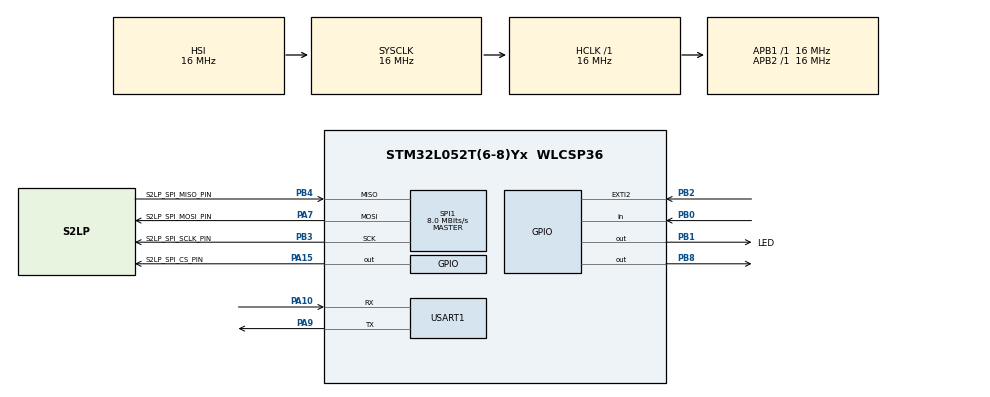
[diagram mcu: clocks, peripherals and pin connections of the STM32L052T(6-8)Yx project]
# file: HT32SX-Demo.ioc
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Dma.Request0=SPI1_TX
Dma.Request1=SPI1_RX
Dma.Request2=USART1_RX
Dma.Request3=USART1_TX
Dma.SPI1_RX.1.Direction=DMA_PERIPH_TO_MEMORY
Dma.SPI1_RX.1.Instance=DMA1_Channel2
Dma.SPI1_RX.1.MemDataAlignment=DMA_MDATAALIGN_BYTE
Dma.SPI1_RX.1.MemInc=DMA_MINC_ENABLE
Dma.SPI1_RX.1.Mode=DMA_NORMAL
Dma.SPI1_RX.1.PeriphDataAlignment=DMA_PDATAALIGN_BYTE
Dma.SPI1_RX.1.PeriphInc=DMA_PINC_DISABLE
Dma.SPI1_RX.1.Priority=DMA_PRIORITY_HIGH
Dma.SPI1_TX.0.Direction=DMA_MEMORY_TO_PERIPH
Dma.SPI1_TX.0.Instance=DMA1_Channel3
Dma.SPI1_TX.0.MemDataAlignment=DMA_MDATAALIGN_BYTE
Dma.SPI1_TX.0.MemInc=DMA_MINC_ENABLE
Dma.SPI1_TX.0.Mode=DMA_NORMAL
Dma.SPI1_TX.0.PeriphDataAlignment=DMA_PDATAALIGN_BYTE
Dma.SPI1_TX.0.PeriphInc=DMA_PINC_DISABLE
Dma.SPI1_TX.0.Priority=DMA_PRIORITY_HIGH
Dma.USART1_RX.2.Direction=DMA_PERIPH_TO_MEMORY
Dma.USART1_RX.2.Instance=DMA1_Channel5
Dma.USART1_RX.2.MemDataAlignment=DMA_MDATAALIGN_BYTE
Dma.USART1_RX.2.MemInc=DMA_MINC_ENABLE
Dma.USART1_RX.2.Mode=DMA_CIRCULAR
Dma.USART1_RX.2.PeriphDataAlignment=DMA_PDATAALIGN_BYTE
Dma.USART1_RX.2.PeriphInc=DMA_PINC_DISABLE
Dma.USART1_RX.2.Priority=DMA_PRIORITY_LOW
Dma.USART1_TX.3.Direction=DMA_MEMORY_TO_PERIPH
Dma.USART1_TX.3.Instance=DMA1_Channel4
Dma.USART1_TX.3.MemDataAlignment=DMA_MDATAALIGN_BYTE
Dma.USART1_TX.3.MemInc=DMA_MINC_ENABLE
Dma.USART1_TX.3.Mode=DMA_NORMAL
Dma.USART1_TX.3.PeriphDataAlignment=DMA_PDATAALIGN_BYTE
Dma.USART1_TX.3.PeriphInc=DMA_PINC_DISABLE
Dma.USART1_TX.3.Priority=DMA_PRIORITY_HIGH
Mcu.Family=STM32L0
Mcu.Name=STM32L052T(6-8)Yx
Mcu.Package=WLCSP36
NVIC.DMA1_Channel2_3_IRQn=true\:1\:0\:true\:false\:true\:false\:true
NVIC.DMA1_Channel4_5_6_7_IRQn=true\:0\:0\:false\:false\:true\:false\:true
NVIC.EXTI2_3_IRQn=true\:0\:0\:false\:false\:true\:true\:true
NVIC.RTC_IRQn=true\:1\:0\:true\:false\:true\:true\:true
NVIC.TIM6_DAC_IRQn=true\:1\:0\:true\:false\:true\:true\:true
PA10.Mode=Asynchronous
PA10.Signal=USART1_RX
PA13.Mode=Serial_Wire
PA13.Signal=SYS_SWDIO
PA14.Mode=Serial_Wire
PA14.Signal=SYS_SWCLK
PA15.GPIO_Label=S2LP_SPI_CS_PIN
PA15.GPIO_PuPd=GPIO_PULLUP
PA15.GPIO_Speed=GPIO_SPEED_FREQ_HIGH
PA15.PinState=GPIO_PIN_SET
PA15.Signal=GPIO_Output
PA7.GPIO_Label=S2LP_SPI_MOSI_PIN
PA7.GPIO_PuPd=GPIO_PULLUP
PA7.GPIO_Speed=GPIO_SPEED_FREQ_HIGH
PA7.Mode=Full_Duplex_Master
PA7.Signal=SPI1_MOSI
PA9.Mode=Asynchronous
PA9.Signal=USART1_TX
PB0.GPIO_PuPd=GPIO_PULLUP
PB0.Signal=GPIO_Input
PB1.GPIO_Label=LED
PB1.Signal=GPIO_Output
PB2.GPIO_ModeDefaultEXTI=GPIO_MODE_IT_FALLING
PB2.Signal=GPXTI2
PB3.GPIO_Label=S2LP_SPI_SCLK_PIN
PB3.GPIO_PuPd=GPIO_PULLUP
PB3.GPIO_Speed=GPIO_SPEED_FREQ_HIGH
PB3.Mode=Full_Duplex_Master
PB3.Signal=SPI1_SCK
PB4.GPIO_Label=S2LP_SPI_MISO_PIN
PB4.GPIO_PuPd=GPIO_PULLUP
PB4.GPIO_Speed=GPIO_SPEED_FREQ_HIGH
PB4.Mode=Full_Duplex_Master
PB4.Signal=SPI1_MISO
PB8.GPIO_Speed=GPIO_SPEED_FREQ_HIGH
PB8.Signal=GPIO_Output
ProjectManager.HeapSize=0x200
ProjectManager.StackSize=0x400
ProjectManager.TargetToolchain=STM32CubeIDE
RCC.AHBFreq_Value=16000000
RCC.APB1Freq_Value=16000000
RCC.APB1TimFreq_Value=16000000
RCC.APB2Freq_Value=16000000
RCC.APB2TimFreq_Value=16000000
RCC.HCLKFreq_Value=16000000
RCC.HSI16_VALUE=16000000
RCC.HSI48_VALUE=48000000
RCC.HSI_VALUE=16000000
RCC.LSE_VALUE=32768
RCC.MSI_VALUE=2097000
RCC.PLLDIV=RCC_PLLDIV_4
RCC.PLLMUL=RCC_PLLMUL_4
RCC.SYSCLKFreq_VALUE=16000000
RCC.SYSCLKSource=RCC_SYSCLKSOURCE_HSI
RCC.VCOOutputFreq_Value=64000000
RTC.WakeUpCounter=1000
SPI1.CalculateBaudRate=8.0 MBits/s
SPI1.Direction=SPI_DIRECTION_2LINES
SPI1.Mode=SPI_MODE_MASTER
SPI1.VirtualType=VM_MASTER
TIM6.Period=1000-1
TIM6.Prescaler=64-1
USART1.VirtualMode-Asynchronous=VM_ASYNC
VP_RTC_VS_RTC_Activate.Mode=RTC_Enabled
VP_RTC_VS_RTC_Calendar.Mode=RTC_Calendar
VP_RTC_VS_RTC_WakeUp_intern.Mode=WakeUp
VP_TIM6_VS_ClockSourceINT.Mode=Enable_Timer
board=custom

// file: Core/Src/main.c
/* USER CODE BEGIN Header */
/**
 ******************************************************************************
 * @file           : main.c
 * @brief          : Main program body
 ******************************************************************************
 * @attention
 *
 * <h2><center>&copy; Copyright (c) 2019 STMicroelectronics.
 * All rights reserved.</center></h2>
 *
 * This software component is licensed by ST under BSD 3-Clause license,
 * the "License"; You may not use this file except in compliance with the
 * License. You may obtain a copy of the License at:
 *                        opensource.org/licenses/BSD-3-Clause
 *
 ******************************************************************************
 */
/* USER CODE END Header */

#include "main.h"
#include "dma.h"
#include "rtc.h"
#include "spi.h"
#include "tim.h"
#include "usart.h"
#include "gpio.h"

/* USER CODE BEGIN PD */
#define 	LED_ON		1
#define 	LED_OFF		0

#ifdef DOWNLINK_FLAG
static uint8_t downlink_request = 1;
#else
static uint8_t downlink_request = 0;
#endif
/* USER CODE END PD */

/* USER CODE BEGIN PV */
TIM_HandleTypeDef  Tim6_Handler={.Instance=TIM6};
uint16_t		timer_led = 0, LED_STATE = LED_OFF;
/* USER CODE END PV */

void SystemClock_Config(void);
/* USER CODE BEGIN PFP */
void ST_Init(void);
void deviceIDs(void);
void LED_blink(void);
/* USER CODE END PFP */

int main(void)
{

  /* MCU Configuration--------------------------------------------------------*/

  /* Reset of all peripherals, Initializes the Flash interface and the Systick. */
  HAL_Init();

  /* Configure the system clock */
  SystemClock_Config();

  /* Initialize all configured peripherals */
  MX_GPIO_Init();
  MX_DMA_Init();
  MX_RTC_Init();
  MX_SPI1_Init();
  MX_TIM6_Init();
  MX_USART1_UART_Init();
  /* USER CODE BEGIN 2 */
  printf("\r\n-------------------\r\n");
  printf("Sigfox iMCP HT32SX\r\n");
  printf("-------------------\r\n\r\n");

  deviceIDs();
  /* USER CODE END 2 */

  /* Infinite loop */
  /* USER CODE BEGIN WHILE */
	while (1)
	{
	LED_blink();
    /* USER CODE END WHILE */

	}
}

void LED_blink(void){
	switch(timer_led++){
	case 0:
		HAL_GPIO_WritePin(GPIOB, GPIO_PIN_1, GPIO_PIN_SET);
		break;
	case 100:
		HAL_GPIO_WritePin(GPIOB, GPIO_PIN_1, GPIO_PIN_RESET);
		break;
	case 400:
		timer_led = 0;
		break;

	default:
		if(timer_led > 400)
			timer_led = 0;
		break;
	}
	HAL_Delay(1);
}
void SystemClock_Config(void)
{
  RCC_OscInitTypeDef RCC_OscInitStruct = {0};
  RCC_ClkInitTypeDef RCC_ClkInitStruct = {0};
  RCC_PeriphCLKInitTypeDef PeriphClkInit = {0};

  /** Configure the main internal regulator output voltage
  */
  __HAL_PWR_VOLTAGESCALING_CONFIG(PWR_REGULATOR_VOLTAGE_SCALE1);
  /** Initializes the CPU, AHB and APB busses clocks
  */
  RCC_OscInitStruct.OscillatorType = RCC_OSCILLATORTYPE_HSI|RCC_OSCILLATORTYPE_LSI;
  RCC_OscInitStruct.HSIState = RCC_HSI_ON;
  RCC_OscInitStruct.HSICalibrationValue = RCC_HSICALIBRATION_DEFAULT;
  RCC_OscInitStruct.LSIState = RCC_LSI_ON;
  RCC_OscInitStruct.PLL.PLLState = RCC_PLL_NONE;
  if (HAL_RCC_OscConfig(&RCC_OscInitStruct) != HAL_OK)
  {
    Error_Handler();
  }
  /** Initializes the CPU, AHB and APB busses clocks
  */
  RCC_ClkInitStruct.ClockType = RCC_CLOCKTYPE_HCLK|RCC_CLOCKTYPE_SYSCLK
                              |RCC_CLOCKTYPE_PCLK1|RCC_CLOCKTYPE_PCLK2;
  RCC_ClkInitStruct.SYSCLKSource = RCC_SYSCLKSOURCE_HSI;
  RCC_ClkInitStruct.AHBCLKDivider = RCC_SYSCLK_DIV1;
  RCC_ClkInitStruct.APB1CLKDivider = RCC_HCLK_DIV1;
  RCC_ClkInitStruct.APB2CLKDivider = RCC_HCLK_DIV1;

  if (HAL_RCC_ClockConfig(&RCC_ClkInitStruct, FLASH_LATENCY_0) != HAL_OK)
  {
    Error_Handler();
  }
  PeriphClkInit.PeriphClockSelection = RCC_PERIPHCLK_USART1|RCC_PERIPHCLK_RTC;
  PeriphClkInit.Usart1ClockSelection = RCC_USART1CLKSOURCE_PCLK2;
  PeriphClkInit.RTCClockSelection = RCC_RTCCLKSOURCE_LSI;
  if (HAL_RCCEx_PeriphCLKConfig(&PeriphClkInit) != HAL_OK)
  {
    Error_Handler();
  }
}

/* USER CODE BEGIN 4 */

void configRegion(rc_mask RCZ) {
	ST_SFX_ERR open_err = ST_SFX_ERR_NONE;

	switch(RCZ){
	case RCZ1:
		ST_RF_API_reduce_output_power(RCZ1_OUTPUT_POWER);
		open_err = St_Sigfox_Open_RCZ(RCZ1);

		if(open_err != 0)
			printf("Open rcz error: %X\n", open_err);

		break;
	case RCZ2:
		ST_RF_API_reduce_output_power(RCZ2_OUTPUT_POWER);
		open_err = St_Sigfox_Open_RCZ(RCZ2);

		if(open_err != 0)
			printf("Open rcz error: %X\n", open_err);

		break;
	case RCZ3:
		open_err = St_Sigfox_Open_RCZ(RCZ3);
		ST_RF_API_reduce_output_power(RCZ3_OUTPUT_POWER);
		if(open_err != 0)
			printf("Open rcz error: %X\n", open_err);

		break;
	case RCZ4:
		open_err = St_Sigfox_Open_RCZ(RCZ4);
		ST_RF_API_reduce_output_power(RCZ4_OUTPUT_POWER);
		if(open_err != 0)
			printf("Open rcz error: %X\n", open_err);

		break;
	case RCZ5:
		open_err = St_Sigfox_Open_RCZ(RCZ5);
		ST_RF_API_reduce_output_power(RCZ5_OUTPUT_POWER);
		if(open_err != 0)
			printf("Open rcz error: %X\n", open_err);

		break;
	case RCZ6:
		open_err = St_Sigfox_Open_RCZ(RCZ6);
		ST_RF_API_reduce_output_power(RCZ6_OUTPUT_POWER);
		if(open_err != 0)
			printf("Open rcz error: %X\n", open_err);

		break;
	case RCZ7:
		open_err = St_Sigfox_Open_RCZ(RCZ7);
		ST_RF_API_reduce_output_power(RCZ7_OUTPUT_POWER);
		if(open_err != 0)
			printf("Open rcz error: %X\n", open_err);

		break;
	default:
		break;
	}

}

sfx_error_t sendFrame(void) {

	/********** SEND MESSAGE TO RCZ2 ****************************/

	uint8_t customer_data[12]={0xAA, 0xAA, 0xAA, 0xAA, 0xBA, 0xBA, 0xBA, 0xBA, 0xBA, 0xBA, 0xBA, 0xBA};
	uint8_t customer_resp[8];
	sfx_error_t err;

	/********** FUNCTION PARAMETERS  ****************************/
	/********** THE LAST ONE IS TO REQUEST DOWNLINK ************/
	/********** 1 - YES, 0 - NO	 ******************************/

	err=SIGFOX_API_send_frame(customer_data,sizeof(customer_data),customer_resp, 3, downlink_request);

	if(downlink_request) {
		printf("Customer resp: {");

		for(uint16_t i = 0; i < 7; i++)
			printf("0x%x,", customer_resp[i]);

		printf("0x%x}\n\r", customer_resp[7]);
	}

	printf("\nError Send Frame: %X\n", err);

	return err;
}

void mcuConfig(void) {
	ST_SFX_ERR stSfxRetErr;

	ST_Init();

	NVM_BoardDataType sfxConfiguration;
	stSfxRetErr = ST_Sigfox_Init(&sfxConfiguration, 0);

	if(stSfxRetErr != ST_SFX_ERR_NONE)
	{
		/* If an error occured reading Sigfox credentials (for example the board has never been registered)
		 * automatically set the test mode credentials. */
		if(stSfxRetErr == ST_SFX_ERR_CREDENTIALS)
		{
			sfxConfiguration.id = 0;
			memset(sfxConfiguration.pac, 0x00, 8);
			sfxConfiguration.rcz = 0;

		} else {
			printf("Error!\n");
		}
	}

	/* Calibrate RTC in case of STM32*/
#if  !(defined(BLUENRG2_DEVICE) || defined(BLUENRG1_DEVICE))
	/* The low level driver uses the internal RTC as a timer while the STM32 is in low power.
  This function calibrates the RTC using an auxiliary general purpose timer in order to
  increase its precision. */
	ST_MCU_API_TimerCalibration(500);
#endif

	printf("Sigfox iMCP HT32SX\r\n");

	printf("ID;PAC\r\n");
	printf("%.8X;", (unsigned int)sfxConfiguration.id);

	for(uint16_t i = 0; i < sizeof(sfxConfiguration.pac); i++)
	{
		printf("%.2X", sfxConfiguration.pac[i]);
	}

	printf("\r\n");

	/*			SET S2LP XTAL FREQUENCY														*/
	/*			DO NOT CHANGE IT																	*/

	ST_RF_API_set_xtal_freq(50000000);

	/*			SET A PROPER FREQUENCY OFFSET											*/
	/*			THIS VALUE CAN BE FOUND IN CREDENTIALS 						*/

	ST_RF_API_set_freq_offset(sfxConfiguration.freqOffset);
	printf("Freq Offset %d \n", (int32_t)sfxConfiguration.freqOffset);

	/*			SET LBT OFFSET																		*/
	/*			THIS VALUE CAN BE FOUND IN CREDENTIALS 						*/

	ST_RF_API_set_lbt_thr_offset(sfxConfiguration.lbtOffset);
	printf("LBT %d \n", (int32_t)sfxConfiguration.lbtOffset);

	/*			SET RSSI OFFSET																		*/
	/*			THIS VALUE CAN BE FOUND IN CREDENTIALS 						*/

	ST_RF_API_set_rssi_offset(sfxConfiguration.rssiOffset);
	printf("RSSI %d \n", sfxConfiguration.rssiOffset);
}

void deviceIDs(void) {
	ST_SFX_ERR stSfxRetErr;

	ST_Init();

	NVM_BoardDataType sfxConfiguration;
	stSfxRetErr = ST_Sigfox_Init(&sfxConfiguration, 0);

	if(stSfxRetErr != ST_SFX_ERR_NONE)
	{
		/* If an error occured reading Sigfox credentials (for example the board has never been registered)
		 * automatically set the test mode credentials. */
		if(stSfxRetErr == ST_SFX_ERR_CREDENTIALS)
		{
			sfxConfiguration.id = 0;
			memset(sfxConfiguration.pac, 0x00, 8);
			sfxConfiguration.rcz = 0;

		} else {
			printf("Error readinf Sigfox credentials!\n");
		}
	}

	ST_MCU_API_TimerCalibration(500);

	printf("ID;PAC\r\n");
	printf("%.8X;", (unsigned int)sfxConfiguration.id);

	for(uint16_t i = 0; i < sizeof(sfxConfiguration.pac); i++)
	{
		printf("%.2X", sfxConfiguration.pac[i]);
	}

	printf("\r\n");
}

void ST_Init(void)
{
	/* Put the radio off */
	S2LPShutdownInit();
	HAL_Delay(10);
	S2LPShutdownExit();

	/* Init TIM6 which will trigger TX */
	SdkEvalTimersState(&Tim6_Handler, ENABLE);

	/* Auto detect settings, if EEPROM is available */
#if EEPROM_PRESENT == EEPROM_YES
	/* Identify the S2-LP RF board reading some production data */
	S2LPManagementIdentificationRFBoard();
#elif EEPROM_PRESENT==EEPROM_NO
	/* Set XTAL frequency with offset */
	S2LPRadioSetXtalFrequency(XTAL_FREQUENCY+XTAL_FREQUENCY_OFFSET);

	/* Set the frequency base */
	S2LPManagementSetBand(BOARD_FREQUENCY_BAND);

	/* Configure PA availability */
#if S2LP_FEM_PRESENT == S2LP_FEM_NO
	S2LPManagementSetRangeExtender(0);
#else
	S2LPManagementSetRangeExtender(1);
#endif
#endif

	/* uC IRQ config and enable */

	S2LPIRQInit();
	S2LPIRQEnable(ENABLE, 0);

	/* FEM Initialization */
	FEM_Init();

	/* TCXO Initialization */
	//TCXO_Init();

}

/* USER CODE END 4 */

void Error_Handler(void)
{
}

/************************ (C) COPYRIGHT STMicroelectronics *****END OF FILE****/
